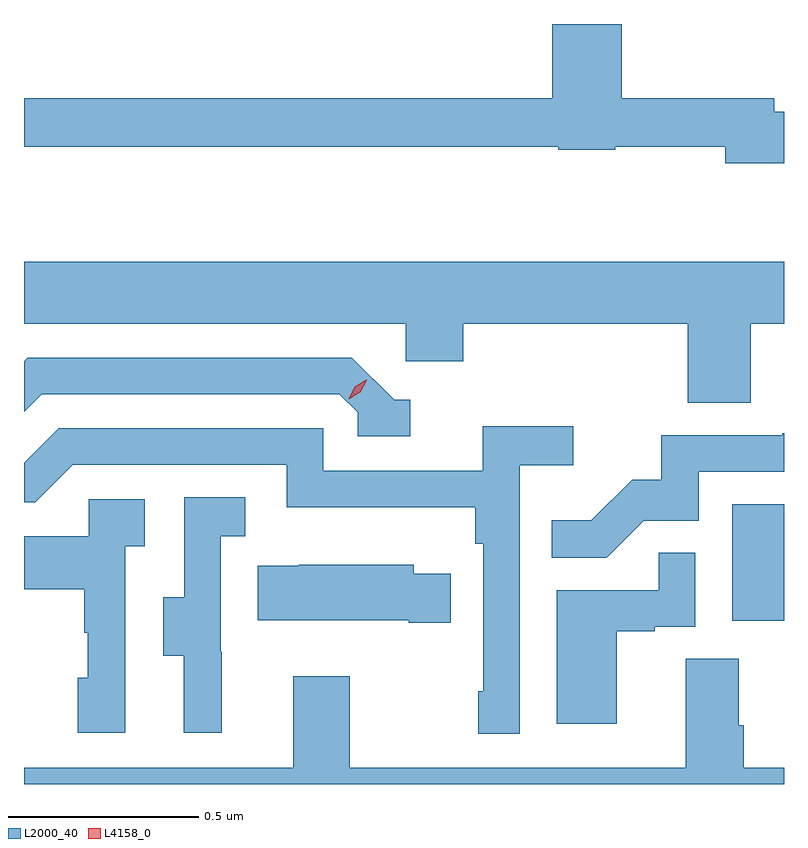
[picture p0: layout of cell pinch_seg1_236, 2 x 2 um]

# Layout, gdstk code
import gdstk
lib = gdstk.Library(unit=1e-6, precision=1e-09)
def R(c, l, rs):  # rectangles x0, y0, x1, y1
    for r in rs: c.add(gdstk.rectangle(r[:2], r[2:], *l))
def P(c, l, *ps):  # polygons
    for p in ps: c.add(gdstk.Polygon(p, *l))
L2000_40 = (2000, 40)
L4158_0 = (4158, 0)

pinch_seg1_236 = lib.new_cell('pinch_seg1_236')
R(pinch_seg1_236, L2000_40, [(977.66,564.27,977.796,564.577)])
P(pinch_seg1_236, L2000_40, [(977.796,565.61),(977.77,565.61),(977.77,565.646),(977.369,565.646),(977.369,565.841),(977.186,565.841),(977.186,565.646),(975.796,565.646),(975.796,565.518),(977.202,565.518),(977.202,565.51),(977.352,565.51),(977.352,565.518),(977.642,565.518),(977.642,565.475),(977.796,565.475)],
  [(977.708,565.052),(977.796,565.052),(977.796,565.216),(975.796,565.216),(975.796,565.052),(976.8,565.052),(976.8,564.954),(976.952,564.954),(976.952,565.052),(977.543,565.052),(977.543,564.844),(977.708,564.844)],
  [(976.813,564.852),(976.77,564.852),(976.659,564.963),(975.806,564.963),(975.796,564.953),(975.796,564.82),(975.843,564.867),(976.626,564.867),(976.674,564.819),(976.674,564.756),(976.813,564.756)],
  [(977.1,564.68),(977.242,564.68),(977.242,564.782),(977.003,564.782),(977.003,564.666),(976.584,564.666),(976.584,564.777),(975.887,564.777),(975.796,564.686),(975.796,564.582),(975.825,564.582),(975.924,564.681),(976.488,564.681),(976.488,564.569),(976.984,564.569),(976.984,564.473),(977.004,564.473),(977.004,564.085),(976.992,564.085),(976.992,563.973),(977.1,563.973)],
  [(977.427,564.534),(977.571,564.534),(977.571,564.663),(977.796,564.663),(977.796,564.764),(977.791,564.764),(977.791,564.759),(977.473,564.759),(977.473,564.642),(977.396,564.642),(977.289,564.535),(977.185,564.535),(977.185,564.436),(977.329,564.436)],
  [(976.316,564.189),(976.314,564.189),(976.314,564.493),(976.378,564.493),(976.378,564.596),(976.218,564.596),(976.218,564.333),(976.163,564.333),(976.163,564.178),(976.217,564.178),(976.217,563.976),(976.316,563.976)],
  [(976.062,564.467),(976.114,564.467),(976.114,564.591),(975.966,564.591),(975.966,564.493),(975.796,564.493),(975.796,564.353),(975.954,564.353),(975.954,564.239),(975.964,564.239),(975.964,564.12),(975.938,564.12),(975.938,563.976),(976.062,563.976)],
  [(977.356,564.243),(977.456,564.243),(977.456,564.255),(977.562,564.255),(977.562,564.449),(977.467,564.449),(977.467,564.351),(977.198,564.351),(977.198,564),(977.356,564)],
  [(976.919,564.394),(976.821,564.394),(976.821,564.418),(976.519,564.418),(976.519,564.415),(976.411,564.415),(976.411,564.272),(976.808,564.272),(976.808,564.265),(976.919,564.265)],
  [(977.796,563.884),(977.69,563.884),(977.69,563.996),(977.677,563.996),(977.677,564.17),(977.537,564.17),(977.537,563.884),(976.653,563.884),(976.653,564.124),(976.505,564.124),(976.505,563.884),(975.796,563.884),(975.796,563.841),(977.796,563.841)])
P(pinch_seg1_236, L4158_0, [(976.65,564.853),(976.65,564.853),(976.666,564.886),(976.697,564.905),(976.698,564.905),(976.698,564.904),(976.681,564.872),(976.65,564.853)])

lib.write_gds('pinch_seg1_236.gds')
